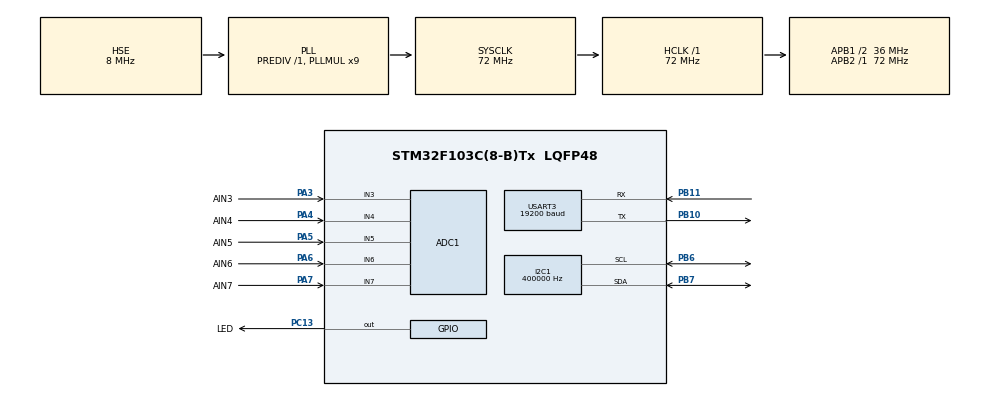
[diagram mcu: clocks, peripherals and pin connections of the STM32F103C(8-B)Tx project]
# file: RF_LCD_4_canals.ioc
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ADC1.Channel-0\#ChannelRegularConversion=ADC_CHANNEL_3
ADC1.Channel-1\#ChannelRegularConversion=ADC_CHANNEL_4
ADC1.Channel-2\#ChannelRegularConversion=ADC_CHANNEL_5
ADC1.Channel-3\#ChannelRegularConversion=ADC_CHANNEL_6
ADC1.Channel-4\#ChannelRegularConversion=ADC_CHANNEL_7
ADC1.ContinuousConvMode=ENABLE
ADC1.NbrOfConversion=5
ADC1.NbrOfConversionFlag=1
ADC1.Rank-0\#ChannelRegularConversion=1
ADC1.Rank-1\#ChannelRegularConversion=2
ADC1.Rank-2\#ChannelRegularConversion=3
ADC1.Rank-3\#ChannelRegularConversion=4
ADC1.Rank-4\#ChannelRegularConversion=5
ADC1.SamplingTime-0\#ChannelRegularConversion=ADC_SAMPLETIME_55CYCLES_5
ADC1.SamplingTime-1\#ChannelRegularConversion=ADC_SAMPLETIME_55CYCLES_5
ADC1.SamplingTime-2\#ChannelRegularConversion=ADC_SAMPLETIME_55CYCLES_5
ADC1.SamplingTime-3\#ChannelRegularConversion=ADC_SAMPLETIME_55CYCLES_5
ADC1.SamplingTime-4\#ChannelRegularConversion=ADC_SAMPLETIME_55CYCLES_5
ADC1.master=1
Dma.ADC1.0.Direction=DMA_PERIPH_TO_MEMORY
Dma.ADC1.0.Instance=DMA1_Channel1
Dma.ADC1.0.MemDataAlignment=DMA_MDATAALIGN_HALFWORD
Dma.ADC1.0.MemInc=DMA_MINC_ENABLE
Dma.ADC1.0.Mode=DMA_CIRCULAR
Dma.ADC1.0.PeriphDataAlignment=DMA_PDATAALIGN_HALFWORD
Dma.ADC1.0.PeriphInc=DMA_PINC_DISABLE
Dma.ADC1.0.Priority=DMA_PRIORITY_VERY_HIGH
Dma.Request0=ADC1
I2C1.ClockSpeed=400000
I2C1.I2C_Mode=I2C_Fast
I2C1.NoStretchMode=I2C_NOSTRETCH_DISABLE
I2C1.OwnAddress=0x15
Mcu.Family=STM32F1
Mcu.Name=STM32F103C(8-B)Tx
Mcu.Package=LQFP48
NVIC.DMA1_Channel1_IRQn=true\:0\:0\:false\:false\:true\:false\:true
NVIC.PriorityGroup=NVIC_PRIORITYGROUP_4
NVIC.TIM1_UP_IRQn=true\:0\:0\:false\:true\:true\:1\:true\:true
NVIC.USART3_IRQn=true\:0\:0\:false\:true\:true\:2\:true\:true
PA13.Mode=Serial_Wire
PA13.Signal=SYS_JTMS-SWDIO
PA14.Mode=Serial_Wire
PA14.Signal=SYS_JTCK-SWCLK
PA3.GPIO_Label=AIN3
PA3.Signal=ADCx_IN3
PA4.GPIO_Label=AIN4
PA4.Signal=ADCx_IN4
PA5.GPIO_Label=AIN5
PA5.Signal=ADCx_IN5
PA6.GPIO_Label=AIN6
PA6.Signal=ADCx_IN6
PA7.GPIO_Label=AIN7
PA7.Signal=ADCx_IN7
PB10.Mode=Asynchronous
PB10.Signal=USART3_TX
PB11.Mode=Asynchronous
PB11.Signal=USART3_RX
PB6.Mode=I2C
PB6.Signal=I2C1_SCL
PB7.Mode=I2C
PB7.Signal=I2C1_SDA
PC13-TAMPER-RTC.GPIO_Label=LED
PC13-TAMPER-RTC.GPIO_Speed=GPIO_SPEED_FREQ_HIGH
PC13-TAMPER-RTC.PinState=GPIO_PIN_SET
PC13-TAMPER-RTC.Signal=GPIO_Output
PC14-OSC32_IN.Mode=LSE-External-Oscillator
PC14-OSC32_IN.Signal=RCC_OSC32_IN
PC15-OSC32_OUT.Mode=LSE-External-Oscillator
PC15-OSC32_OUT.Signal=RCC_OSC32_OUT
PD0-OSC_IN.Mode=HSE-External-Oscillator
PD0-OSC_IN.Signal=RCC_OSC_IN
PD1-OSC_OUT.Mode=HSE-External-Oscillator
PD1-OSC_OUT.Signal=RCC_OSC_OUT
ProjectManager.HeapSize=0x200
ProjectManager.StackSize=0x400
ProjectManager.TargetToolchain=MDK-ARM V5.27
RCC.ADCPresc=RCC_ADCPCLK2_DIV6
RCC.AHBFreq_Value=72000000
RCC.APB1CLKDivider=RCC_HCLK_DIV2
RCC.APB1Freq_Value=36000000
RCC.APB1TimFreq_Value=72000000
RCC.APB2Freq_Value=72000000
RCC.APB2TimFreq_Value=72000000
RCC.HCLKFreq_Value=72000000
RCC.PLLMUL=RCC_PLL_MUL9
RCC.PLLSourceVirtual=RCC_PLLSOURCE_HSE
RCC.SYSCLKFreq_VALUE=72000000
RCC.SYSCLKSource=RCC_SYSCLKSOURCE_PLLCLK
RCC.USBFreq_Value=48000000
RCC.USBPrescaler=RCC_USBCLKSOURCE_PLL_DIV1_5
SH.ADCx_IN3.0=ADC1_IN3,IN3
SH.ADCx_IN4.0=ADC1_IN4,IN4
SH.ADCx_IN5.0=ADC1_IN5,IN5
SH.ADCx_IN6.0=ADC1_IN6,IN6
SH.ADCx_IN7.0=ADC1_IN7,IN7
TIM1.AutoReloadPreload=TIM_AUTORELOAD_PRELOAD_ENABLE
TIM1.ClockDivision=TIM_CLOCKDIVISION_DIV2
TIM1.Period=1
TIM1.Prescaler=24000-1
TIM1.TIM_MasterOutputTrigger=TIM_TRGO_UPDATE
USART3.BaudRate=19200
USART3.VirtualMode=VM_ASYNC
VP_TIM1_VS_ClockSourceINT.Mode=Internal
board=custom

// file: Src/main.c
/* USER CODE BEGIN Header */
/**
  ******************************************************************************
  * @file           : main.c
  * @brief          : Main program body
  ******************************************************************************
  * @attention
  *
  * <h2><center>&copy; Copyright (c) 2021 STMicroelectronics.
  * All rights reserved.</center></h2>
  *
  * This software component is licensed by ST under BSD 3-Clause license,
  * the "License"; You may not use this file except in compliance with the
  * License. You may obtain a copy of the License at:
  *                        opensource.org/licenses/BSD-3-Clause
  *
  ******************************************************************************
  */
/* USER CODE END Header */
#include "main.h"
#include "adc.h"
#include "dma.h"
#include "i2c.h"
#include "tim.h"
#include "usart.h"
#include "gpio.h"

/* USER CODE BEGIN Includes */
#include "setup.h"
#include "control.h"
#include "ssd1306.h"

/* USER CODE END Includes */

void SystemClock_Config(void);
static void MX_NVIC_Init(void);

int main(void)
{

  /* MCU Configuration--------------------------------------------------------*/

  /* Reset of all peripherals, Initializes the Flash interface and the Systick. */
  HAL_Init();

  /* USER CODE BEGIN Init */
    SETUP_Load();
  /* USER CODE END Init */

  /* Configure the system clock */
  SystemClock_Config();

  /* Initialize all configured peripherals */
  MX_GPIO_Init();
  MX_USART3_UART_Init();
  MX_TIM1_Init();
  MX_DMA_Init();
  MX_ADC1_Init();
  MX_I2C1_Init();

  /* Initialize interrupts */
  MX_NVIC_Init();
  /* USER CODE BEGIN 2 */

//    USART_SetBaudRate(USART3, 115200);
    LL_USART_EnableIT_RXNE(USART3);
    LL_USART_EnableIT_ERROR(USART3);

    HAL_TIM_Base_Start_IT(&htim1);

    HAL_Delay(500);

	ssd1306_Init(&hi2c1);  //Initialize display
    HAL_Delay(100);

    ssd1306_SetPresent();

    dev_var.kbus = 0;
    dev_var.send_off = 0;
    dev_var.realtime = HAL_GetTick();
    HAL_Delay(200);

    if(hadc1.Instance == ADC1)
    {
        HAL_ADCEx_Calibration_Start(&hadc1);
        HAL_ADC_Start_DMA(&hadc1, (uint32_t*)adc_data, ARR1_SIZE*5);
    }

    HAL_Delay(2000);
  /* USER CODE END 2 */

  /* Infinite loop */
  /* USER CODE BEGIN WHILE */
  while (1)
  {
      USART3_Proc();
      ssd1306_Proc();
      SYSTEM_Proc();
      CONTROL_Proc();

    /* USER CODE END WHILE */

  }
}

void SystemClock_Config(void)
{
  RCC_OscInitTypeDef RCC_OscInitStruct = {0};
  RCC_ClkInitTypeDef RCC_ClkInitStruct = {0};
  RCC_PeriphCLKInitTypeDef PeriphClkInit = {0};

  /** Initializes the RCC Oscillators according to the specified parameters
  * in the RCC_OscInitTypeDef structure.
  */
  RCC_OscInitStruct.OscillatorType = RCC_OSCILLATORTYPE_HSE;
  RCC_OscInitStruct.HSEState = RCC_HSE_ON;
  RCC_OscInitStruct.HSEPredivValue = RCC_HSE_PREDIV_DIV1;
  RCC_OscInitStruct.HSIState = RCC_HSI_ON;
  RCC_OscInitStruct.PLL.PLLState = RCC_PLL_ON;
  RCC_OscInitStruct.PLL.PLLSource = RCC_PLLSOURCE_HSE;
  RCC_OscInitStruct.PLL.PLLMUL = RCC_PLL_MUL9;
  if (HAL_RCC_OscConfig(&RCC_OscInitStruct) != HAL_OK)
  {
    Error_Handler();
  }
  /** Initializes the CPU, AHB and APB buses clocks
  */
  RCC_ClkInitStruct.ClockType = RCC_CLOCKTYPE_HCLK|RCC_CLOCKTYPE_SYSCLK
                              |RCC_CLOCKTYPE_PCLK1|RCC_CLOCKTYPE_PCLK2;
  RCC_ClkInitStruct.SYSCLKSource = RCC_SYSCLKSOURCE_PLLCLK;
  RCC_ClkInitStruct.AHBCLKDivider = RCC_SYSCLK_DIV1;
  RCC_ClkInitStruct.APB1CLKDivider = RCC_HCLK_DIV2;
  RCC_ClkInitStruct.APB2CLKDivider = RCC_HCLK_DIV1;

  if (HAL_RCC_ClockConfig(&RCC_ClkInitStruct, FLASH_LATENCY_2) != HAL_OK)
  {
    Error_Handler();
  }
  PeriphClkInit.PeriphClockSelection = RCC_PERIPHCLK_ADC;
  PeriphClkInit.AdcClockSelection = RCC_ADCPCLK2_DIV6;
  if (HAL_RCCEx_PeriphCLKConfig(&PeriphClkInit) != HAL_OK)
  {
    Error_Handler();
  }
}

/**
  * @brief NVIC Configuration.
  * @retval None
  */
static void MX_NVIC_Init(void)
{
  /* TIM1_UP_IRQn interrupt configuration */
  HAL_NVIC_SetPriority(TIM1_UP_IRQn, 0, 0);
  HAL_NVIC_EnableIRQ(TIM1_UP_IRQn);
  /* USART3_IRQn interrupt configuration */
  NVIC_SetPriority(USART3_IRQn, NVIC_EncodePriority(NVIC_GetPriorityGrouping(),0, 0));
  NVIC_EnableIRQ(USART3_IRQn);
}

void Error_Handler(void)
{
}

/************************ (C) COPYRIGHT STMicroelectronics *****END OF FILE****/
